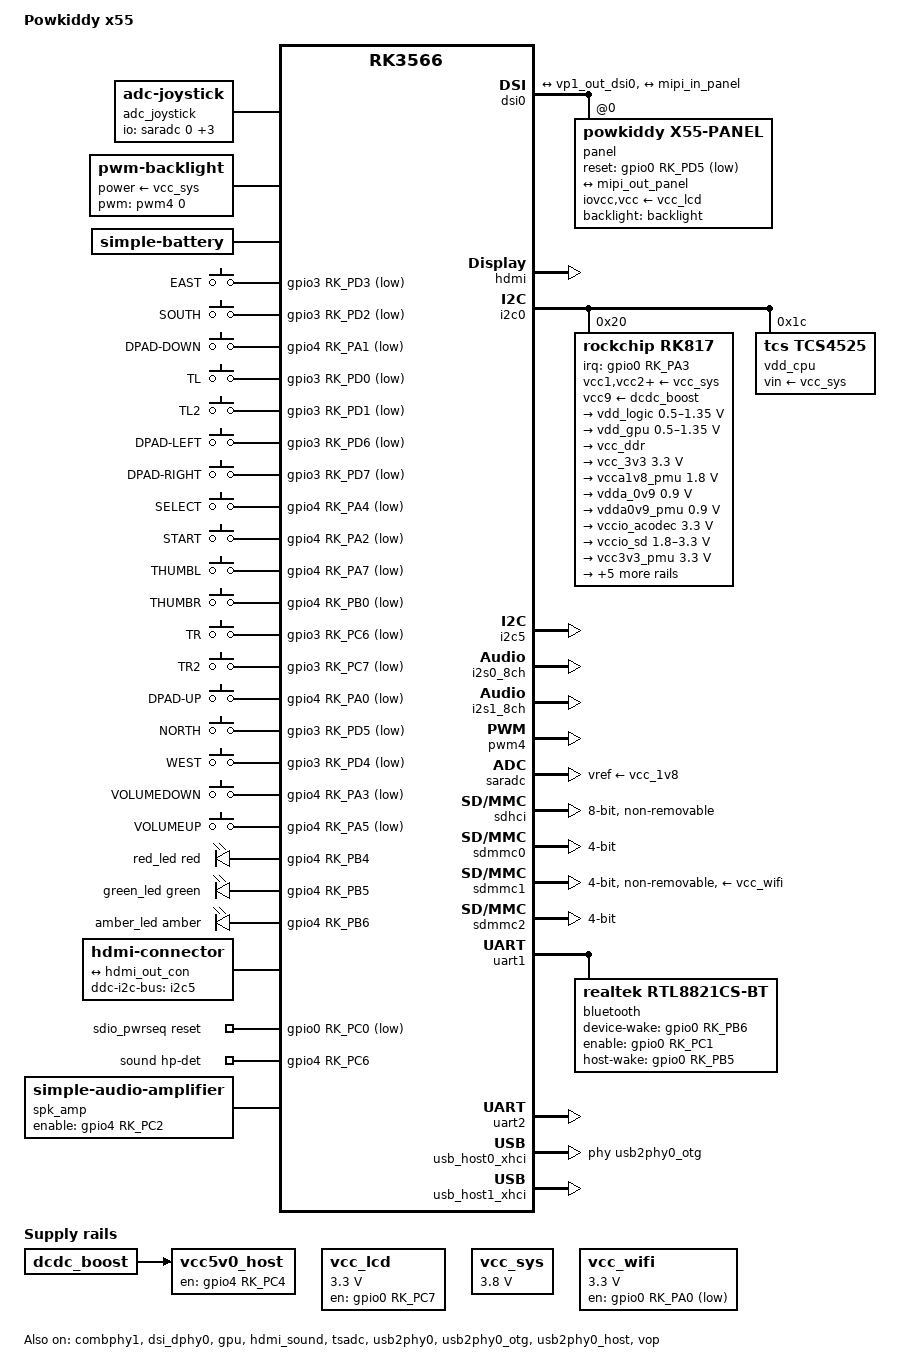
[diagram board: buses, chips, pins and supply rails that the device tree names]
// SPDX-License-Identifier: (GPL-2.0+ OR MIT)

/dts-v1/;

#include <dt-bindings/gpio/gpio.h>
#include <dt-bindings/input/linux-event-codes.h>
#include <dt-bindings/leds/common.h>
#include <dt-bindings/pinctrl/rockchip.h>
#include <dt-bindings/soc/rockchip,vop2.h>
#include "rk3566.dtsi"

/ {
	model = "Powkiddy x55";
	compatible = "powkiddy,x55", "rockchip,rk3566";

	aliases {
		mmc0 = &sdhci;
		mmc1 = &sdmmc0;
		mmc2 = &sdmmc2;
		mmc3 = &sdmmc1;
	};

	chosen: chosen {
		stdout-path = "serial2:1500000n8";
	};

	adc_joystick: adc-joystick {
		compatible = "adc-joystick";
		io-channels = <&saradc 0>, <&saradc 1>,
			      <&saradc 2>, <&saradc 3>;
		poll-interval = <60>;
		#address-cells = <1>;
		#size-cells = <0>;

		axis@0 {
			reg = <0>;
			abs-flat = <30>;
			abs-fuzz = <20>;
			abs-range = <15 1023>;
			linux,code = <ABS_X>;
		};

		axis@1 {
			reg = <1>;
			abs-flat = <30>;
			abs-fuzz = <20>;
			abs-range = <1023 15>;
			linux,code = <ABS_Y>;
		};

		axis@2 {
			reg = <2>;
			abs-flat = <30>;
			abs-fuzz = <20>;
			abs-range = <15 1023>;
			linux,code = <ABS_RX>;
		};

		axis@3 {
			reg = <3>;
			abs-flat = <30>;
			abs-fuzz = <20>;
			abs-range = <1023 15>;
			linux,code = <ABS_RY>;
		};
	};

	backlight: backlight {
		compatible = "pwm-backlight";
		power-supply = <&vcc_sys>;
		pwms = <&pwm4 0 25000 0>;
	};

	battery: battery {
		compatible = "simple-battery";
		charge-full-design-microamp-hours = <4000000>;
		charge-term-current-microamp = <300000>;
		constant-charge-current-max-microamp = <2000000>;
		constant-charge-voltage-max-microvolt = <4300000>;
		factory-internal-resistance-micro-ohms = <91000>;
		voltage-max-design-microvolt = <4138000>;
		voltage-min-design-microvolt = <3400000>;

		ocv-capacity-celsius = <20>;
		ocv-capacity-table-0 =  <4138000 100>, <4083000 95>, <4059000 90>, <4044000 85>,
					<4030000 80>, <4020000 75>, <4006000 70>, <3972000 65>,
					<3934000 60>, <3904000 55>, <3878000 50>, <3857000 45>,
					<3843000 40>, <3826000 35>, <3801000 30>, <3768000 25>,
					<3735000 20>, <3688000 15>, <3621000 10>, <3553000 5>,
					<3400000 0>;
	};

	gpio_keys_control: gpio-keys-control {
		compatible = "gpio-keys";
		pinctrl-0 = <&btn_pins_ctrl>;
		pinctrl-names = "default";

		button-a {
			gpios = <&gpio3 RK_PD3 GPIO_ACTIVE_LOW>;
			label = "EAST";
			linux,code = <BTN_EAST>;
		};

		button-b {
			gpios = <&gpio3 RK_PD2 GPIO_ACTIVE_LOW>;
			label = "SOUTH";
			linux,code = <BTN_SOUTH>;
		};

		button-down {
			gpios = <&gpio4 RK_PA1 GPIO_ACTIVE_LOW>;
			label = "DPAD-DOWN";
			linux,code = <BTN_DPAD_DOWN>;
		};

		button-l1 {
			gpios = <&gpio3 RK_PD0 GPIO_ACTIVE_LOW>;
			label = "TL";
			linux,code = <BTN_TL>;
		};

		button-l2 {
			gpios = <&gpio3 RK_PD1 GPIO_ACTIVE_LOW>;
			label = "TL2";
			linux,code = <BTN_TL2>;
		};

		button-left {
			gpios = <&gpio3 RK_PD6 GPIO_ACTIVE_LOW>;
			label = "DPAD-LEFT";
			linux,code = <BTN_DPAD_LEFT>;
		};

		button-right {
			gpios = <&gpio3 RK_PD7 GPIO_ACTIVE_LOW>;
			label = "DPAD-RIGHT";
			linux,code = <BTN_DPAD_RIGHT>;
		};

		button-select {
			gpios = <&gpio4 RK_PA4 GPIO_ACTIVE_LOW>;
			label = "SELECT";
			linux,code = <BTN_SELECT>;
		};

		button-start {
			gpios = <&gpio4 RK_PA2 GPIO_ACTIVE_LOW>;
			label = "START";
			linux,code = <BTN_START>;
		};

		button-thumbl {
			gpios = <&gpio4 RK_PA7 GPIO_ACTIVE_LOW>;
			label = "THUMBL";
			linux,code = <BTN_THUMBL>;
		};

		button-thumbr {
			gpios = <&gpio4 RK_PB0 GPIO_ACTIVE_LOW>;
			label = "THUMBR";
			linux,code = <BTN_THUMBR>;
		};

		button-r1 {
			gpios = <&gpio3 RK_PC6 GPIO_ACTIVE_LOW>;
			label = "TR";
			linux,code = <BTN_TR>;
		};

		button-r2 {
			gpios = <&gpio3 RK_PC7 GPIO_ACTIVE_LOW>;
			label = "TR2";
			linux,code = <BTN_TR2>;
		};

		button-up {
			gpios = <&gpio4 RK_PA0 GPIO_ACTIVE_LOW>;
			label = "DPAD-UP";
			linux,code = <BTN_DPAD_UP>;
		};

		button-x {
			gpios = <&gpio3 RK_PD5 GPIO_ACTIVE_LOW>;
			label = "NORTH";
			linux,code = <BTN_NORTH>;
		};

		button-y {
			gpios = <&gpio3 RK_PD4 GPIO_ACTIVE_LOW>;
			label = "WEST";
			linux,code = <BTN_WEST>;
		};
	};

	gpio_keys_vol: gpio-keys-vol {
		compatible = "gpio-keys";
		autorepeat;
		pinctrl-0 = <&btn_pins_vol>;
		pinctrl-names = "default";

		button-voldown {
			gpios = <&gpio4 RK_PA3 GPIO_ACTIVE_LOW>;
			label = "VOLUMEDOWN";
			linux,code = <KEY_VOLUMEDOWN>;
		};

		button-volup {
			gpios = <&gpio4 RK_PA5 GPIO_ACTIVE_LOW>;
			label = "VOLUMEUP";
			linux,code = <KEY_VOLUMEUP>;
		};
	};

	gpio_leds: gpio-leds {
		compatible = "gpio-leds";
		pinctrl-names = "default";
		pinctrl-0 = <&led_pins>;

		red_led: led-0 {
			color = <LED_COLOR_ID_RED>;
			default-state = "off";
			gpios = <&gpio4 RK_PB4 GPIO_ACTIVE_HIGH>;
			function = LED_FUNCTION_STATUS;
		};

		green_led: led-1 {
			color = <LED_COLOR_ID_GREEN>;
			default-state = "on";
			gpios = <&gpio4 RK_PB5 GPIO_ACTIVE_HIGH>;
			function = LED_FUNCTION_POWER;
		};

		amber_led: led-2 {
			color = <LED_COLOR_ID_AMBER>;
			gpios = <&gpio4 RK_PB6 GPIO_ACTIVE_HIGH>;
			function = LED_FUNCTION_CHARGING;
		};

	};

	hdmi-con {
		compatible = "hdmi-connector";
		ddc-i2c-bus = <&i2c5>;
		type = "c";

		port {
			hdmi_con_in: endpoint {
				remote-endpoint = <&hdmi_out_con>;
			};
		};
	};

	sdio_pwrseq: sdio-pwrseq {
		compatible = "mmc-pwrseq-simple";
		clocks = <&rk817 1>;
		clock-names = "ext_clock";
		pinctrl-0 = <&wifi_enable_h>;
		pinctrl-names = "default";
		post-power-on-delay-ms = <200>;
		reset-gpios = <&gpio0 RK_PC0 GPIO_ACTIVE_LOW>;
	};

	/* Channels reversed for both headphones and speakers. */
	sound {
		compatible = "simple-audio-card";
		pinctrl-0 = <&hp_det>;
		pinctrl-names = "default";
		simple-audio-card,name = "rk817_ext";
		simple-audio-card,aux-devs = <&spk_amp>;
		simple-audio-card,format = "i2s";
		simple-audio-card,hp-det-gpio = <&gpio4 RK_PC6 GPIO_ACTIVE_HIGH>;
		simple-audio-card,mclk-fs = <256>;
		simple-audio-card,widgets =
			"Microphone", "Mic Jack",
			"Headphone", "Headphones",
			"Speaker", "Internal Speakers";
		simple-audio-card,routing =
			"MICL", "Mic Jack",
			"Headphones", "HPOL",
			"Headphones", "HPOR",
			"Internal Speakers", "Speaker Amp OUTL",
			"Internal Speakers", "Speaker Amp OUTR",
			"Speaker Amp INL", "HPOL",
			"Speaker Amp INR", "HPOR";
		simple-audio-card,pin-switches = "Internal Speakers";

		simple-audio-card,codec {
			sound-dai = <&rk817>;
		};

		simple-audio-card,cpu {
			sound-dai = <&i2s1_8ch>;
		};
	};

	spk_amp: audio-amplifier {
		compatible = "simple-audio-amplifier";
		enable-gpios = <&gpio4 RK_PC2 GPIO_ACTIVE_HIGH>;
		pinctrl-0 = <&spk_amp_enable_h>;
		pinctrl-names = "default";
		sound-name-prefix = "Speaker Amp";
	};

	vcc5v0_host: regulator-vcc5v0-host {
		compatible = "regulator-fixed";
		enable-active-high;
		gpio = <&gpio4 RK_PC4 GPIO_ACTIVE_HIGH>;
		pinctrl-0 = <&vcc5v0_host_en>;
		pinctrl-names = "default";
		regulator-name = "vcc5v0_host";
		vin-supply = <&dcdc_boost>;
	};

	vcc_lcd: regulator-vcc-lcd {
		compatible = "regulator-fixed";
		enable-active-high;
		gpio = <&gpio0 RK_PC7 GPIO_ACTIVE_HIGH>;
		pinctrl-0 = <&vcc_lcd_en>;
		pinctrl-names = "default";
		regulator-min-microvolt = <3300000>;
		regulator-max-microvolt = <3300000>;
		regulator-name = "vcc_lcd";
	};

	vcc_sys: regulator-vcc-sys {
		compatible = "regulator-fixed";
		regulator-always-on;
		regulator-boot-on;
		regulator-min-microvolt = <3800000>;
		regulator-max-microvolt = <3800000>;
		regulator-name = "vcc_sys";
	};

	vcc_wifi: regulator-vcc-wifi {
		compatible = "regulator-fixed";
		gpio = <&gpio0 RK_PA0 GPIO_ACTIVE_LOW>;
		pinctrl-0 = <&vcc_wifi_h>;
		pinctrl-names = "default";
		regulator-min-microvolt = <3300000>;
		regulator-max-microvolt = <3300000>;
		regulator-name = "vcc_wifi";
	};
};

&combphy1 {
	status = "okay";
};

&cru {
	assigned-clocks = <&pmucru CLK_RTC_32K>, <&cru PLL_GPLL>,
			  <&pmucru PLL_PPLL>, <&cru PLL_VPLL>;
	assigned-clock-rates = <32768>, <1200000000>,
			       <200000000>, <126400000>;
};

&cpu0 {
	cpu-supply = <&vdd_cpu>;
};

&cpu1 {
	cpu-supply = <&vdd_cpu>;
};

&cpu2 {
	cpu-supply = <&vdd_cpu>;
};

&cpu3 {
	cpu-supply = <&vdd_cpu>;
};

&dsi_dphy0 {
	status = "okay";
};

&dsi0 {
	status = "okay";
	#address-cells = <1>;
	#size-cells = <0>;

	ports {
		dsi0_in: port@0 {
			reg = <0>;
			dsi0_in_vp1: endpoint {
				remote-endpoint = <&vp1_out_dsi0>;
			};
		};

		dsi0_out: port@1 {
			reg = <1>;
			mipi_out_panel: endpoint {
				remote-endpoint = <&mipi_in_panel>;
			};
		};
	};

	panel: panel@0 {
		compatible = "powkiddy,x55-panel", "himax,hx8394";
		reg = <0>;
		backlight = <&backlight>;
		iovcc-supply = <&vcc_lcd>;
		pinctrl-names = "default";
		pinctrl-0 = <&lcd_rst>;
		reset-gpios = <&gpio0 RK_PD5 GPIO_ACTIVE_LOW>;
		rotation = <270>;
		vcc-supply = <&vcc_lcd>;

		port {
			mipi_in_panel: endpoint {
				remote-endpoint = <&mipi_out_panel>;
			};
		};
	};
};

&gpu {
	mali-supply = <&vdd_gpu>;
	status = "okay";
};

&hdmi {
	ddc-i2c-bus = <&i2c5>;
	pinctrl-0 = <&hdmitxm0_cec>;
	pinctrl-names = "default";
	status = "okay";
};

&hdmi_in {
	hdmi_in_vp0: endpoint {
		remote-endpoint = <&vp0_out_hdmi>;
	};
};

&hdmi_out {
	hdmi_out_con: endpoint {
		remote-endpoint = <&hdmi_con_in>;
	};
};

&hdmi_sound {
	status = "okay";
};

&i2c0 {
	status = "okay";

	rk817: pmic@20 {
		compatible = "rockchip,rk817";
		reg = <0x20>;
		assigned-clocks = <&cru I2S1_MCLKOUT_TX>;
		assigned-clock-parents = <&cru CLK_I2S1_8CH_TX>;
		clock-names = "mclk";
		clock-output-names = "rk808-clkout1", "rk808-clkout2";
		clocks = <&cru I2S1_MCLKOUT_TX>;
		interrupt-parent = <&gpio0>;
		interrupts = <RK_PA3 IRQ_TYPE_LEVEL_LOW>;
		pinctrl-names = "default";
		pinctrl-0 = <&i2s1m0_mclk>, <&pmic_int_l>;
		wakeup-source;
		#clock-cells = <1>;
		#sound-dai-cells = <0>;

		vcc1-supply = <&vcc_sys>;
		vcc2-supply = <&vcc_sys>;
		vcc3-supply = <&vcc_sys>;
		vcc4-supply = <&vcc_sys>;
		vcc5-supply = <&vcc_sys>;
		vcc6-supply = <&vcc_sys>;
		vcc7-supply = <&vcc_sys>;
		vcc8-supply = <&vcc_sys>;
		vcc9-supply = <&dcdc_boost>;

		regulators {
			vdd_logic: DCDC_REG1 {
				regulator-always-on;
				regulator-boot-on;
				regulator-min-microvolt = <500000>;
				regulator-max-microvolt = <1350000>;
				regulator-ramp-delay = <6001>;
				regulator-initial-mode = <0x2>;
				regulator-name = "vdd_logic";
				regulator-state-mem {
					regulator-off-in-suspend;
					regulator-suspend-microvolt = <900000>;
				};
			};

			vdd_gpu: DCDC_REG2 {
				regulator-always-on;
				regulator-boot-on;
				regulator-min-microvolt = <500000>;
				regulator-max-microvolt = <1350000>;
				regulator-ramp-delay = <6001>;
				regulator-initial-mode = <0x2>;
				regulator-name = "vdd_gpu";
				regulator-state-mem {
					regulator-off-in-suspend;
				};
			};

			vcc_ddr: DCDC_REG3 {
				regulator-always-on;
				regulator-boot-on;
				regulator-initial-mode = <0x2>;
				regulator-name = "vcc_ddr";
				regulator-state-mem {
					regulator-on-in-suspend;
				};
			};

			vcc_3v3: DCDC_REG4 {
				regulator-always-on;
				regulator-boot-on;
				regulator-min-microvolt = <3300000>;
				regulator-max-microvolt = <3300000>;
				regulator-initial-mode = <0x2>;
				regulator-name = "vcc_3v3";
				regulator-state-mem {
					regulator-on-in-suspend;
					regulator-suspend-microvolt = <3300000>;
				};
			};

			vcca1v8_pmu: LDO_REG1 {
				regulator-always-on;
				regulator-boot-on;
				regulator-min-microvolt = <1800000>;
				regulator-max-microvolt = <1800000>;
				regulator-name = "vcca1v8_pmu";
				regulator-state-mem {
					regulator-on-in-suspend;
					regulator-suspend-microvolt = <1800000>;
				};
			};

			vdda_0v9: LDO_REG2 {
				regulator-always-on;
				regulator-boot-on;
				regulator-min-microvolt = <900000>;
				regulator-max-microvolt = <900000>;
				regulator-name = "vdda_0v9";
				regulator-state-mem {
					regulator-off-in-suspend;
				};
			};

			vdda0v9_pmu: LDO_REG3 {
				regulator-always-on;
				regulator-boot-on;
				regulator-min-microvolt = <900000>;
				regulator-max-microvolt = <900000>;
				regulator-name = "vdda0v9_pmu";
				regulator-state-mem {
					regulator-on-in-suspend;
					regulator-suspend-microvolt = <900000>;
				};
			};

			vccio_acodec: LDO_REG4 {
				regulator-always-on;
				regulator-boot-on;
				regulator-min-microvolt = <3300000>;
				regulator-max-microvolt = <3300000>;
				regulator-name = "vccio_acodec";
				regulator-state-mem {
					regulator-off-in-suspend;
				};
			};

			vccio_sd: LDO_REG5 {
				regulator-always-on;
				regulator-boot-on;
				regulator-min-microvolt = <1800000>;
				regulator-max-microvolt = <3300000>;
				regulator-name = "vccio_sd";
				regulator-state-mem {
					regulator-off-in-suspend;
				};
			};

			vcc3v3_pmu: LDO_REG6 {
				regulator-always-on;
				regulator-boot-on;
				regulator-min-microvolt = <3300000>;
				regulator-max-microvolt = <3300000>;
				regulator-name = "vcc3v3_pmu";
				regulator-state-mem {
					regulator-on-in-suspend;
					regulator-suspend-microvolt = <3300000>;
				};
			};

			vcc_1v8: LDO_REG7 {
				regulator-always-on;
				regulator-boot-on;
				regulator-min-microvolt = <1800000>;
				regulator-max-microvolt = <1800000>;
				regulator-name = "vcc_1v8";
				regulator-state-mem {
					regulator-off-in-suspend;
				};
			};

			vcc1v8_dvp: LDO_REG8 {
				regulator-always-on;
				regulator-boot-on;
				regulator-min-microvolt = <1800000>;
				regulator-max-microvolt = <1800000>;
				regulator-name = "vcc1v8_dvp";
				regulator-state-mem {
					regulator-on-in-suspend;
				};
			};

			vcc2v8_dvp: LDO_REG9 {
				regulator-always-on;
				regulator-boot-on;
				regulator-min-microvolt = <1800000>;
				regulator-max-microvolt = <3300000>;
				regulator-name = "vcc2v8_dvp";
				regulator-state-mem {
					regulator-off-in-suspend;
				};
			};

			dcdc_boost: BOOST {
				regulator-min-microvolt = <4700000>;
				regulator-max-microvolt = <5400000>;
				regulator-name = "boost";
				regulator-state-mem {
					regulator-off-in-suspend;
				};
			};

			otg_switch: OTG_SWITCH {
				regulator-name = "otg_switch";
				regulator-state-mem {
					regulator-off-in-suspend;
				};
			};
		};

		rk817_charger: charger {
			monitored-battery = <&battery>;
			rockchip,resistor-sense-micro-ohms = <10000>;
			rockchip,sleep-enter-current-microamp = <150000>;
			rockchip,sleep-filter-current-microamp = <100000>;
		};

	};

	vdd_cpu: regulator@1c {
		compatible = "tcs,tcs4525";
		reg = <0x1c>;
		fcs,suspend-voltage-selector = <1>;
		regulator-always-on;
		regulator-boot-on;
		regulator-min-microvolt = <712500>;
		regulator-max-microvolt = <1390000>;
		regulator-name = "vdd_cpu";
		regulator-ramp-delay = <2300>;
		vin-supply = <&vcc_sys>;
		regulator-state-mem {
			regulator-off-in-suspend;
		};
	};
};

&i2c5 {
	pinctrl-0 = <&i2c5m1_xfer>;
	pinctrl-names = "default";
	status = "okay";
};

&i2s0_8ch {
	status = "okay";
};

&i2s1_8ch {
	pinctrl-0 = <&i2s1m0_sclktx>, <&i2s1m0_lrcktx>, <&i2s1m0_sdi0>,
		    <&i2s1m0_sdo0>;
	pinctrl-names = "default";
	rockchip,trcm-sync-tx-only;
	status = "okay";
};

&pinctrl {
	audio-amplifier {
		spk_amp_enable_h: spk-amp-enable-h {
			rockchip,pins =
				<4 RK_PC2 RK_FUNC_GPIO &pcfg_pull_none>;
		};
	};

	gpio-control {
		btn_pins_ctrl: btn-pins-ctrl {
			rockchip,pins =
				<3 RK_PC6 RK_FUNC_GPIO &pcfg_pull_up>,
				<3 RK_PC7 RK_FUNC_GPIO &pcfg_pull_up>,
				<3 RK_PD0 RK_FUNC_GPIO &pcfg_pull_up>,
				<3 RK_PD1 RK_FUNC_GPIO &pcfg_pull_up>,
				<3 RK_PD2 RK_FUNC_GPIO &pcfg_pull_up>,
				<3 RK_PD3 RK_FUNC_GPIO &pcfg_pull_up>,
				<3 RK_PD4 RK_FUNC_GPIO &pcfg_pull_up>,
				<3 RK_PD5 RK_FUNC_GPIO &pcfg_pull_up>,
				<3 RK_PD6 RK_FUNC_GPIO &pcfg_pull_up>,
				<3 RK_PD7 RK_FUNC_GPIO &pcfg_pull_up>,
				<4 RK_PA0 RK_FUNC_GPIO &pcfg_pull_up>,
				<4 RK_PA1 RK_FUNC_GPIO &pcfg_pull_up>,
				<4 RK_PA2 RK_FUNC_GPIO &pcfg_pull_up>,
				<4 RK_PA4 RK_FUNC_GPIO &pcfg_pull_up>,
				<4 RK_PA7 RK_FUNC_GPIO &pcfg_pull_up>,
				<4 RK_PB0 RK_FUNC_GPIO &pcfg_pull_up>;
		};

		btn_pins_vol: btn-pins-vol {
			rockchip,pins =
				<4 RK_PA3 RK_FUNC_GPIO &pcfg_pull_up>,
				<4 RK_PA5 RK_FUNC_GPIO &pcfg_pull_up>;
		};
	};

	gpio-lcd {
		lcd_rst: lcd-rst {
			rockchip,pins =
				<0 RK_PD5 RK_FUNC_GPIO &pcfg_pull_none>;
		};
	};

	gpio-leds {
		led_pins: led-pins {
			rockchip,pins =
				<4 RK_PB4 RK_FUNC_GPIO &pcfg_pull_none>,
				<4 RK_PB5 RK_FUNC_GPIO &pcfg_pull_none>,
				<4 RK_PB6 RK_FUNC_GPIO &pcfg_pull_none>;
		};
	};

	hp-detect {
		hp_det: hp-det {
			rockchip,pins =
				<4 RK_PC6 RK_FUNC_GPIO &pcfg_pull_up>;
		};
	};

	pmic {
		pmic_int_l: pmic-int-l {
			rockchip,pins =
				<0 RK_PA3 RK_FUNC_GPIO &pcfg_pull_up>;
		};
	};

	sdio-pwrseq {
		wifi_enable_h: wifi-enable-h {
			rockchip,pins =
				<0 RK_PC0 RK_FUNC_GPIO &pcfg_pull_none>;
		};
	};

	usb {
		vcc5v0_host_en: vcc5v0-host-en {
			rockchip,pins =
				<4 RK_PC4 RK_FUNC_GPIO &pcfg_pull_up>;
		};

		vcc5v0_otg_en: vcc5v0-otg-en {
			rockchip,pins =
				<4 RK_PC5 RK_FUNC_GPIO &pcfg_pull_up>;
		};
	};

	vcc-lcd {
		vcc_lcd_en: vcc-lcd-en {
			rockchip,pins =
				<0 RK_PC7 RK_FUNC_GPIO &pcfg_pull_none>;
		};
	};

	vcc-wifi {
		vcc_wifi_h: vcc-wifi-h {
			rockchip,pins =
				<0 RK_PA0 RK_FUNC_GPIO &pcfg_pull_none>;
		};
	};
};

&pmu_io_domains {
	status = "okay";
	pmuio1-supply = <&vcc3v3_pmu>;
	pmuio2-supply = <&vcca1v8_pmu>;
	vccio1-supply = <&vccio_acodec>;
	vccio3-supply = <&vccio_sd>;
	vccio4-supply = <&vcca1v8_pmu>;
	vccio5-supply = <&vcc2v8_dvp>;
	vccio6-supply = <&vcc1v8_dvp>;
	vccio7-supply = <&vcc_3v3>;
};

&pwm4 {
	status = "okay";
};

&saradc {
	vref-supply = <&vcc_1v8>;
	status = "okay";
};

&sdhci {
	bus-width = <8>;
	mmc-hs200-1_8v;
	non-removable;
	pinctrl-0 = <&emmc_bus8>, <&emmc_clk>, <&emmc_cmd>,
		    <&emmc_datastrobe>, <&emmc_rstnout>;
	pinctrl-names = "default";
	status = "okay";
};

&sdmmc0 {
	bus-width = <4>;
	cap-mmc-highspeed;
	cap-sd-highspeed;
	disable-wp;
	pinctrl-0 = <&sdmmc0_bus4>, <&sdmmc0_clk>, <&sdmmc0_cmd>,
		    <&sdmmc0_det>;
	pinctrl-names = "default";
	sd-uhs-sdr104;
	vqmmc-supply = <&vccio_sd>;
	status = "okay";
};

&sdmmc1 {
	bus-width = <4>;
	cap-sd-highspeed;
	cap-sdio-irq;
	keep-power-in-suspend;
	mmc-pwrseq = <&sdio_pwrseq>;
	non-removable;
	pinctrl-0 = <&sdmmc1_bus4>, <&sdmmc1_cmd>, <&sdmmc1_clk>;
	pinctrl-names = "default";
	vmmc-supply = <&vcc_wifi>;
	status = "okay";
};

&sdmmc2 {
	bus-width = <4>;
	cap-mmc-highspeed;
	cap-sd-highspeed;
	disable-wp;
	pinctrl-0 = <&sdmmc2m1_bus4>, <&sdmmc2m1_cmd>, <&sdmmc2m1_clk>,
		    <&sdmmc2m1_det>;
	pinctrl-names = "default";
	sd-uhs-sdr104;
	vqmmc-supply = <&vcc2v8_dvp>;
	status = "okay";
};

&tsadc {
	rockchip,hw-tshut-mode = <1>;
	rockchip,hw-tshut-polarity = <0>;
	status = "okay";
};

&uart1 {
	pinctrl-0 = <&uart1m0_xfer>, <&uart1m0_ctsn>, <&uart1m0_rtsn>;
	pinctrl-names = "default";
	uart-has-rtscts;
	status = "okay";

	bluetooth {
		compatible = "realtek,rtl8821cs-bt", "realtek,rtl8723bs-bt";
		device-wake-gpios = <&gpio0 RK_PB6 GPIO_ACTIVE_HIGH>;
		enable-gpios = <&gpio0 RK_PC1 GPIO_ACTIVE_HIGH>;
		host-wake-gpios = <&gpio0 RK_PB5 GPIO_ACTIVE_HIGH>;
	};
};

&uart2 {
	status = "okay";
};

&usb_host0_xhci {
	phys = <&usb2phy0_otg>;
	phy-names = "usb2-phy";
	status = "okay";
};

&usb_host1_xhci {
	status = "okay";
};

&usb2phy0 {
	status = "okay";
};

&usb2phy0_otg {
	status = "okay";
};

&usb2phy0_host {
	phy-supply = <&vcc5v0_host>;
	status = "okay";
};

&vop {
	assigned-clocks = <&cru DCLK_VOP0>, <&cru DCLK_VOP1>;
	assigned-clock-parents = <&pmucru PLL_HPLL>, <&cru PLL_VPLL>;
	status = "okay";
};

&vop_mmu {
	status = "okay";
};

&vp0 {
	vp0_out_hdmi: endpoint@ROCKCHIP_VOP2_EP_HDMI0 {
		reg = <ROCKCHIP_VOP2_EP_HDMI0>;
		remote-endpoint = <&hdmi_in_vp0>;
	};
};

&vp1 {
	vp1_out_dsi0: endpoint@ROCKCHIP_VOP2_EP_MIPI0 {
		reg = <ROCKCHIP_VOP2_EP_MIPI0>;
		remote-endpoint = <&dsi0_in_vp1>;
	};
};
